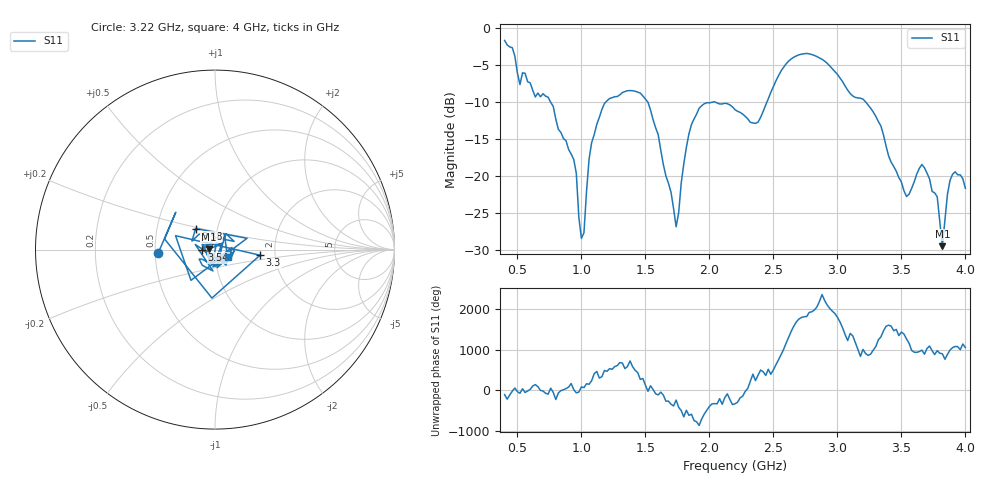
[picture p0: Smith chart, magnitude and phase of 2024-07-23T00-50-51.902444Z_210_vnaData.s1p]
!Created with skrf (http://scikit-rf.org).
# Hz S RI R 50.0
!freq ReS11 ImS11
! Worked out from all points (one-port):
!   181 points, 400 MHz to 4 GHz, reference 50 ohm
!   lowest |S11| = -29.5 dB at 3.82 GHz (marker M1), VSWR 1.07, Z = 46.8 + j0.247 ohm
!   |S11| at or under -10 dB: 758.6 MHz to 1.191 GHz (432.6 MHz wide, 44.4 % of centre); 1.519 GHz to 2.032 GHz (513 MHz wide, 28.9 % of centre); 3.221 GHz to end of sweep (the widest 3 of 4)
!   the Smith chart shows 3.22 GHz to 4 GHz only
!   S11 on the Smith chart (normalised r, x): 3.22 GHz: 0.52, -0.02; 3.3 GHz: 1.67, -0.11; 3.38 GHz: 0.78, +0.19; 3.54 GHz: 0.86, -0.00; 4 GHz: 1.15, -0.10
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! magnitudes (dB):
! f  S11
! 400 MHz  -1.7
! 520 MHz  -7.6
! 740 MHz  -9.4
! 860 MHz  -14.9
! 960 MHz  -19.6
! 1 GHz  -28.4
! 1.02 GHz  -27.7
! 1.08 GHz  -15.5
! 1.3 GHz  -9.0
! 1.52 GHz  -10.0
! 1.74 GHz  -26.9
! 1.76 GHz  -25.0
! 1.84 GHz  -14.3
! 1.92 GHz  -10.8
! 2.2 GHz  -11.0
! 2.38 GHz  -12.7
! 2.66 GHz  -3.9
! 3.1 GHz  -8.9
! 3.22 GHz  -10.0
! 3.3 GHz  -11.9
! 3.38 GHz  -15.9
! 3.54 GHz  -22.8
! 3.56 GHz  -22.5
! 3.68 GHz  -18.9
! 3.78 GHz  -22.8
! 3.82 GHz  -29.5
! 3.88 GHz  -20.6
! 4 GHz  -21.7
